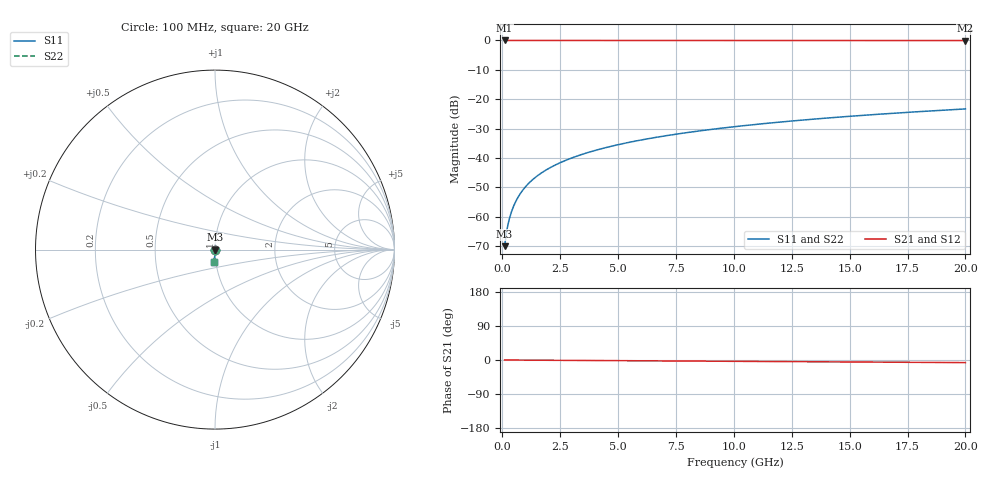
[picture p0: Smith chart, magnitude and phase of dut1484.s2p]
! Touchstone file exported from HFSS 2026.1.0
!  File:  C:/ffzhzh/LocalFiles/Ansys_Project_Files/temp_train_TSV_1484_1783198654_18472.aedt
!  Generated:  04:58:58 AM Jul  5, 2026
!  Design:  TSV
!  Project:  temp_train_TSV_1484_1783198654_18472
! Variables:
!  h_bsmrdl = 2um
!  h_ox = 20um
!  h_rdl = 5um
!  h_sub = 60.07um
!  h_tmrdl = 5um
!  h_tsv = 60.07um
!  h_via = 3um
!  l_bsmrdl = 300um
!  l_sub = 420.06um
!  l_tmrdl = 200um
!  m_sub = 200um
!  pitch = 25.19um
!  r_tsv = 10.03um
!  s_tmrdl = 10um
!  w_bsmrdl = 18um
!  w_sub = 500um
!  w_tmrdl = 12um
!  x_tsv_center1 = 206um
!  x_tsv_center2 = 524um
!  x_tsv_center3 = 736um
!  x_tsv_center4 = 1054um
!  x_tsv_center5 = 1266um
!  x_tsv_center6 = 1584um
# GHz S MA R 50.000000
! Terminal data exported
! Port[1] = TSV1_1_T1
! Port[2] = TSV1_1_T2
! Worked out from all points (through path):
!   200 points, 100 MHz to 20 GHz, reference 50 ohm
!   highest |S21| = 0.00 dB at 100 MHz (marker M1); lowest = 0.0 dB at 20 GHz (marker M2)
!   lowest |S11| = -70.0 dB at 100 MHz (marker M3), VSWR 1.00, Z = 50 - j0.0293 ohm
!   |S11| at or under -10 dB: start of sweep to end of sweep
!   |S22| runs from -70.0 to -23.3 dB; largest |S21 - S12| = 1.4e-15
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0.1  0.0003149 -68.3  0.9999 -0.0  0.9999 -0.0  0.0003149 -68.3
! Gamma 0 0 0 0
! Port Impedance 50 0 50 0
0.2  0.0006052 -77.3  0.9999 -0.1  0.9999 -0.1  0.0006052 -77.3
0.3  0.00091 -80.1  0.9998 -0.1  0.9998 -0.1  0.00091 -80.1
0.4  0.001225 -81.4  0.9998 -0.1  0.9998 -0.1  0.001225 -81.4
0.5  0.001548 -82.2  0.9998 -0.2  0.9998 -0.2  0.001548 -82.2
0.7  0.002211 -83.4  0.9997 -0.3  0.9997 -0.3  0.002211 -83.4
0.8  0.002546 -83.9  0.9997 -0.3  0.9997 -0.3  0.002546 -83.9
1  0.003221 -84.7  0.9997 -0.4  0.9997 -0.4  0.003221 -84.7
1.2  0.003899 -85.4  0.9996 -0.4  0.9996 -0.4  0.003899 -85.4
1.4  0.004576 -85.9  0.9996 -0.5  0.9996 -0.5  0.004576 -85.9
1.7  0.005592 -86.6  0.9996 -0.6  0.9996 -0.6  0.005592 -86.6
2  0.006607 -87.1  0.9996 -0.7  0.9996 -0.7  0.006607 -87.1
2.7  0.008977 -87.9  0.9995 -0.9  0.9995 -0.9  0.008977 -87.9
3.5  0.01169 -88.6  0.9994 -1.2  0.9994 -1.2  0.01169 -88.6
4.2  0.01407 -89.1  0.9993 -1.5  0.9993 -1.5  0.01407 -89.1
5  0.01681 -89.5  0.9992 -1.7  0.9992 -1.7  0.01681 -89.5
6.8  0.02297 -90.5  0.999 -2.4  0.999 -2.4  0.02297 -90.5
8.3  0.02812 -91.2  0.9988 -2.9  0.9988 -2.9  0.02812 -91.2
10.1  0.03431 -91.9  0.9985 -3.5  0.9985 -3.5  0.03431 -91.9
13.4  0.04564 -93.3  0.9979 -4.6  0.9979 -4.6  0.04564 -93.3
16.7  0.05696 -94.6  0.9972 -5.8  0.9972 -5.8  0.05696 -94.6
20  0.06827 -95.8  0.9963 -6.9  0.9963 -6.9  0.06827 -95.8
